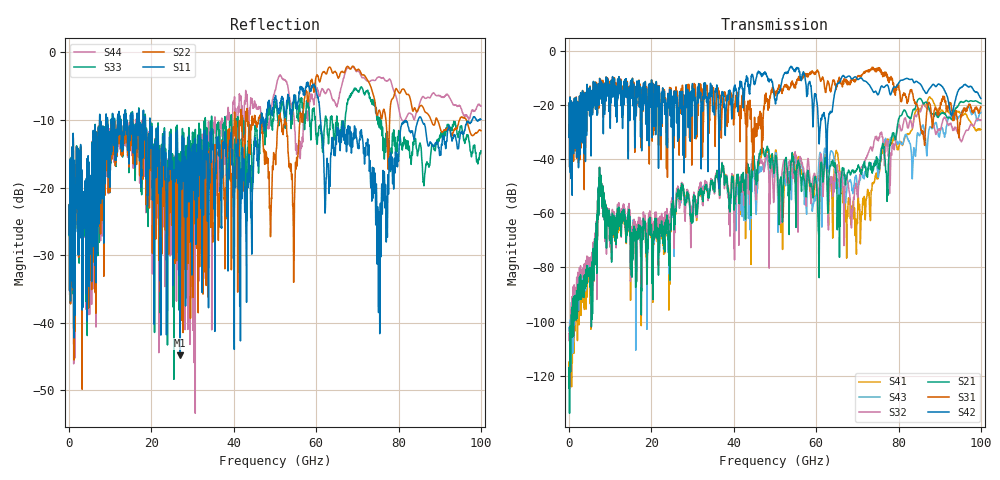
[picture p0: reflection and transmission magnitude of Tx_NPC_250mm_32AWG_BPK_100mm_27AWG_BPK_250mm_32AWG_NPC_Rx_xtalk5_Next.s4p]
! Info: Touchstone file created by Circ.  Input file=Tx_NPC_250mm_32AWG_BPK_100mm_27AWG_BPK_250mm_32AWG_NPC_Rx.circ
# Hz S RI R 50
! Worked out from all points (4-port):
!   10000 points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, 10 MHz to 100 GHz, reference 50 ohm
!   strongest paths, dB at 10 MHz, 25.01 GHz, 50.01 GHz, 75.01 GHz, 100 GHz:
!     S42: -32.0, -21.9, -18.4, -16.3, -17.6
!     S31: -31.9, -20.3, -15.8, -6.8, -20.8
!     S21: -124.5, -56.7, -40.5, -41.3, -19.5
!     S32: -104.4, -54.4, -44.4, -32.8, -25.5
!     S43: -102.2, -55.6, -39.5, -46.0, -22.7
!     S41: -118.9, -57.1, -38.3, -47.2, -29.0
!   lowest |S11| = -44.8 dB at 27 GHz (marker M1), VSWR 1.01, Z = 50.5 + j0.331 ohm
!   |S11| at or under -10 dB: 19.64 GHz to 46.46 GHz (26.82 GHz wide, 81.1 % of centre); 61.06 GHz to 84.77 GHz (23.72 GHz wide, 32.5 % of centre); 85.69 GHz to 97.84 GHz (12.15 GHz wide, 13.2 % of centre) (the widest 3 of 34)
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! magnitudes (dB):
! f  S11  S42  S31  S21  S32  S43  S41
! 10 MHz  -27.0  -32.0  -31.9  -124.5  -104.4  -102.2  -118.9
! 7.72 GHz  -10.5  -11.4  -10.8  -46.3  -46.7  -46.6  -46.3
! 27 GHz  -44.8  -20.9  -21.9  -51.9  -52.8  -52.2  -51.9
! 65 GHz  -11.6  -12.4  -12.7  -48.3  -44.0  -47.4  -37.2
! 69.62 GHz  -11.5  -9.7  -11.1  -44.3  -49.2  -46.2  -62.6
! 87.47 GHz  -13.8  -14.1  -19.3  -21.7  -22.0  -28.8  -17.1
! 100 GHz  -9.9  -17.6  -20.8  -19.5  -25.5  -22.7  -29.0
